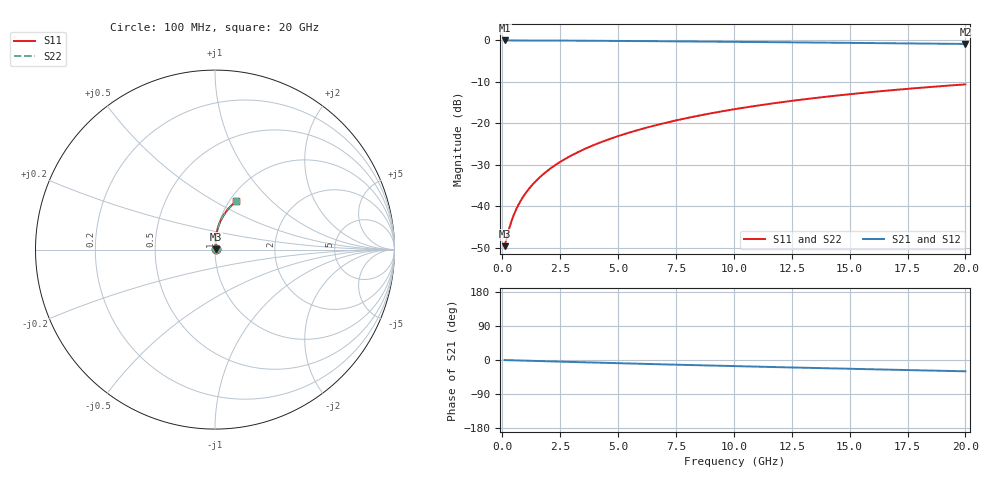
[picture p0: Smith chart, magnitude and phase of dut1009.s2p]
! Touchstone file exported from HFSS 2024.1.0
!  File:  C:/UserFiles/LocalFiles/RDL_TSV_Batchsim/temp_RDL_top_1009_1780042697.aedt
!  Generated:  04:21:01 PM May 29, 2026
!  Design:  RDL_top
!  Project:  temp_RDL_top_1009_1780042697
!  Setup:  Setup1
!  Solution:  Sweep
! Variables:
!  dtsv = 10.80580581um
!  hbump = 3um
!  htsv = 77.99um
!  ldown = 100um
!  lrdl = 400.24um
!  p = 40
!  p1 = 47.06um
!  rhole = 1um
!  t = 450um
!  tdown = 3.915915916um
!  trdl = 2.48um
!  wdown = 15.38538539um
!  wrdl = 21.68um
# GHz S MA R 50.000000
! Terminal data exported
! Port[1] = Box2_T1
! Port[2] = Box2_T2
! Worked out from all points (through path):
!   200 points, 100 MHz to 20 GHz, reference 50 ohm
!   highest |S21| = -0.03 dB at 100 MHz (marker M1); lowest = -0.9 dB at 20 GHz (marker M2)
!   group delay of S21, straight-line fit = 4.12 ps
!   lowest |S11| = -49.7 dB at 100 MHz (marker M3), VSWR 1.01, Z = 50.3 + j0.151 ohm
!   |S11| at or under -10 dB: start of sweep to end of sweep
!   |S22| runs from -49.7 to -10.6 dB; largest |S21 - S12| = 3e-15
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0.1  0.003286 27.1  0.9971 -0.2  0.9971 -0.2  0.003286 27.1
! Gamma 0 0 0 0
! Port Impedance 50 0 50 0
0.3  0.005387 54.7  0.9968 -0.5  0.9968 -0.5  0.005387 54.7
0.4  0.006624 60.9  0.9967 -0.7  0.9967 -0.7  0.006624 60.9
0.5  0.007882 65.0  0.9965 -0.9  0.9965 -0.9  0.007882 65.0
0.6  0.009144 68.0  0.9964 -1.1  0.9964 -1.1  0.009144 68.0
0.7  0.01041 70.3  0.9962 -1.2  0.9962 -1.2  0.01041 70.3
0.9  0.01295 73.8  0.996 -1.6  0.996 -1.6  0.01295 73.8
1.2  0.01681 77.1  0.9955 -2.1  0.9955 -2.1  0.01681 77.1
1.4  0.01941 78.7  0.9952 -2.4  0.9952 -2.4  0.01941 78.7
1.7  0.02336 80.5  0.9947 -3.0  0.9947 -3.0  0.02336 80.5
2.2  0.03006 82.4  0.9936 -3.8  0.9936 -3.8  0.03006 82.4
2.8  0.03827 83.7  0.9921 -4.8  0.9921 -4.8  0.03827 83.7
3.5  0.04808 84.6  0.99 -6.0  0.99 -6.0  0.04808 84.6
4.2  0.05813 84.9  0.9875 -7.2  0.9875 -7.2  0.05813 84.9
5  0.06989 84.9  0.9844 -8.5  0.9844 -8.5  0.06988 84.9
6.8  0.09721 84.0  0.9763 -11.3  0.9763 -11.3  0.0972 84.0
8.4  0.1221 82.4  0.9683 -13.7  0.9683 -13.7  0.1221 82.4
10.1  0.1488 80.3  0.9595 -16.3  0.9595 -16.3  0.1488 80.3
11.7  0.1738 78.1  0.951 -18.6  0.951 -18.6  0.1738 78.1
13.4  0.1999 75.7  0.9418 -21.0  0.9418 -21.0  0.1999 75.7
16.7  0.2487 70.9  0.9235 -25.5  0.9235 -25.5  0.2486 70.9
20  0.2942 66.2  0.9048 -29.9  0.9048 -29.9  0.2942 66.2
